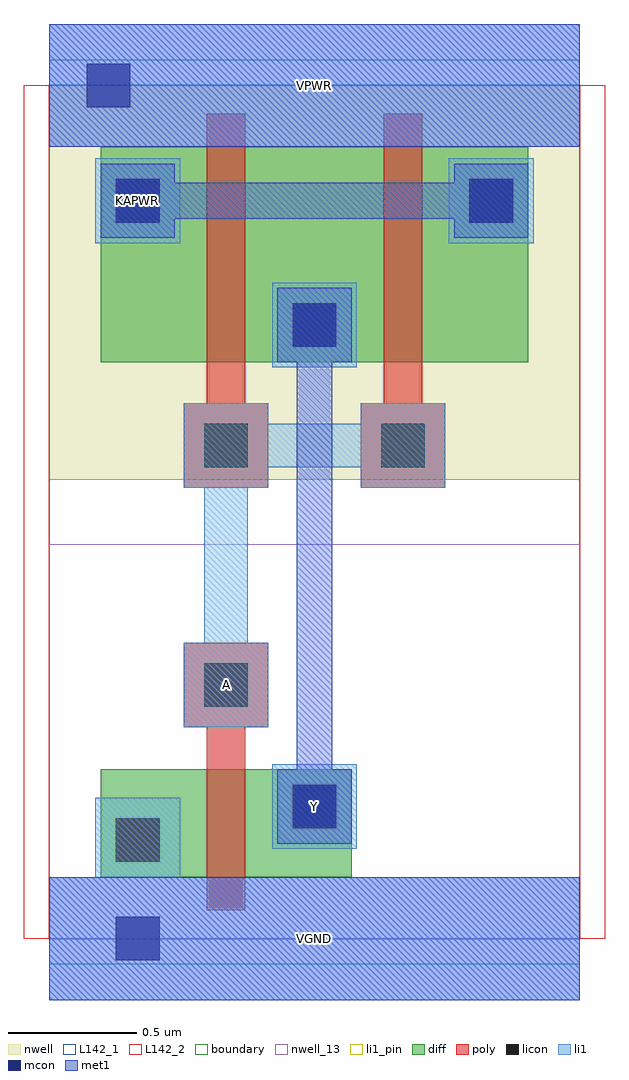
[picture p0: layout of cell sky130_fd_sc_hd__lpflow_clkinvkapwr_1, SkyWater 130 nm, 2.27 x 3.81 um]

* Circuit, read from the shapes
.subckt sky130_fd_sc_hd__lpflow_clkinvkapwr_1 A KAPWR VGND VPWR Y
XM1 Y A VGND VSUBS sky130_fd_pr__nfet_01v8 w=0.42 l=0.15
XM2 Y A KAPWR n1 sky130_fd_pr__pfet_01v8 w=0.84 l=0.15 m=2
.ends

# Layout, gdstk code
import gdstk
lib = gdstk.Library(unit=1e-6, precision=1e-09)
def R(c, l, rs):  # rectangles x0, y0, x1, y1
    for r in rs: c.add(gdstk.rectangle(r[:2], r[2:], *l))
def P(c, l, *ps):  # polygons
    for p in ps: c.add(gdstk.Polygon(p, *l))
nwell_13 = (64, 13)
nwell = (64, 20)
diff = (65, 20)
poly = (66, 20)
licon = (66, 44)
li1_pin = (67, 16)
li1 = (67, 20)
mcon = (67, 44)
met1 = (68, 20)
L142_1 = (142, 1)
L142_2 = (142, 2)
boundary = (235, 4)

sky130_fd_sc_hd__lpflow_ = lib.new_cell('sky130_fd_sc_hd__lpflow_clkinvkapwr_1')
R(sky130_fd_sc_hd__lpflow_, nwell_13, [(0,0,2.07,1.54)])
R(sky130_fd_sc_hd__lpflow_, nwell, [(0,1.79,2.07,3.33)])
R(sky130_fd_sc_hd__lpflow_, diff, [(0.2,0.24,1.18,0.66), (0.2,0.24,0.615,0.66), (0.615,0.24,1.18,0.66), (0.2,2.25,1.87,3.09), (0.2,2.25,0.615,3.09), (0.615,2.25,1.305,3.09), (1.305,2.25,1.87,3.09)])
P(sky130_fd_sc_hd__lpflow_, poly, [(0.615,0.11),(0.615,0.825),(0.525,0.825),(0.525,1.155),(0.855,1.155),(0.855,0.825),(0.765,0.825),(0.765,0.11)],
  [(0.525,1.76),(0.525,2.09),(0.615,2.09),(0.615,3.22),(0.765,3.22),(0.765,2.09),(0.855,2.09),(0.855,1.76)],
  [(1.215,1.76),(1.215,2.09),(1.305,2.09),(1.305,3.22),(1.455,3.22),(1.455,2.09),(1.545,2.09),(1.545,1.76)])
R(sky130_fd_sc_hd__lpflow_, licon, [(0.26,0.3,0.43,0.47), (0.95,0.43,1.12,0.6), (0.605,0.905,0.775,1.075), (0.605,1.84,0.775,2.01), (1.295,1.84,1.465,2.01), (0.95,2.31,1.12,2.48), (0.26,2.795,0.43,2.965), (1.64,2.795,1.81,2.965)])
R(sky130_fd_sc_hd__lpflow_, li1_pin, [(0,-0.24,2.07,0.24), (0.87,0.35,1.2,0.68), (0.18,2.715,0.51,3.045), (0,3.09,2.07,3.57)])
P(sky130_fd_sc_hd__lpflow_, li1_pin, [(0.525,0.825),(0.525,1.155),(0.605,1.155),(0.605,1.76),(0.525,1.76),(0.525,2.09),(0.855,2.09),(0.855,2.01),(1.215,2.01),(1.215,2.09),(1.545,2.09),(1.545,1.76),(1.215,1.76),(1.215,1.84),(0.855,1.84),(0.855,1.76),(0.775,1.76),(0.775,1.155),(0.855,1.155),(0.855,0.825)])
R(sky130_fd_sc_hd__lpflow_, li1, [(0.87,0.35,1.2,0.68), (0.87,2.23,1.2,2.56), (0.18,2.715,0.51,3.045), (1.56,2.715,1.89,3.045), (0,3.09,2.07,3.57)])
P(sky130_fd_sc_hd__lpflow_, li1, [(0,-0.24),(0,0.24),(0.18,0.24),(0.18,0.55),(0.51,0.55),(0.51,0.24),(2.07,0.24),(2.07,-0.24)],
  [(0.525,0.825),(0.525,1.155),(0.605,1.155),(0.605,1.76),(0.525,1.76),(0.525,2.09),(0.855,2.09),(0.855,2.01),(1.215,2.01),(1.215,2.09),(1.545,2.09),(1.545,1.76),(1.215,1.76),(1.215,1.84),(0.855,1.84),(0.855,1.76),(0.775,1.76),(0.775,1.155),(0.855,1.155),(0.855,0.825)])
R(sky130_fd_sc_hd__lpflow_, mcon, [(0.26,-0.085,0.43,0.085), (0.95,0.43,1.12,0.6), (0.95,2.31,1.12,2.48), (0.26,2.795,0.43,2.965), (1.64,2.795,1.81,2.965), (0.145,3.245,0.315,3.415)])
R(sky130_fd_sc_hd__lpflow_, met1, [(0,-0.24,2.07,0.24), (0,3.09,2.07,3.57)])
P(sky130_fd_sc_hd__lpflow_, met1, [(0.89,0.37),(0.89,0.66),(0.965,0.66),(0.965,2.25),(0.89,2.25),(0.89,2.54),(1.18,2.54),(1.18,2.25),(1.105,2.25),(1.105,0.66),(1.18,0.66),(1.18,0.37)],
  [(0.2,2.735),(0.2,3.025),(0.49,3.025),(0.49,2.95),(1.58,2.95),(1.58,3.025),(1.87,3.025),(1.87,2.735),(1.58,2.735),(1.58,2.81),(0.49,2.81),(0.49,2.735)])
R(sky130_fd_sc_hd__lpflow_, L142_1, [(0,-0.1,2.07,0), (0,3.33,2.07,3.43)])
R(sky130_fd_sc_hd__lpflow_, L142_2, [(-0.1,0,0,3.33), (2.07,0,2.17,3.33)])
R(sky130_fd_sc_hd__lpflow_, boundary, [(0,0,2.07,3.33)])
sky130_fd_sc_hd__lpflow_.add(gdstk.Label('Y', (1.035,0.515), layer=67, texttype=5))
sky130_fd_sc_hd__lpflow_.add(gdstk.Label('KAPWR', (0.345,2.88), layer=67, texttype=5))
sky130_fd_sc_hd__lpflow_.add(gdstk.Label('A', (0.69,0.99), layer=67, texttype=5))
sky130_fd_sc_hd__lpflow_.add(gdstk.Label('VGND', (1.035,0), layer=67, texttype=5))
sky130_fd_sc_hd__lpflow_.add(gdstk.Label('VPWR', (1.035,3.33), layer=67, texttype=5))
sky130_fd_sc_hd__lpflow_.add(gdstk.Label('VGND', (1.035,0), layer=68, texttype=5))
sky130_fd_sc_hd__lpflow_.add(gdstk.Label('VPWR', (1.035,3.33), layer=68, texttype=5))

lib.write_gds('sky130_fd_sc_hd__lpflow_clkinvkapwr_1.gds')
